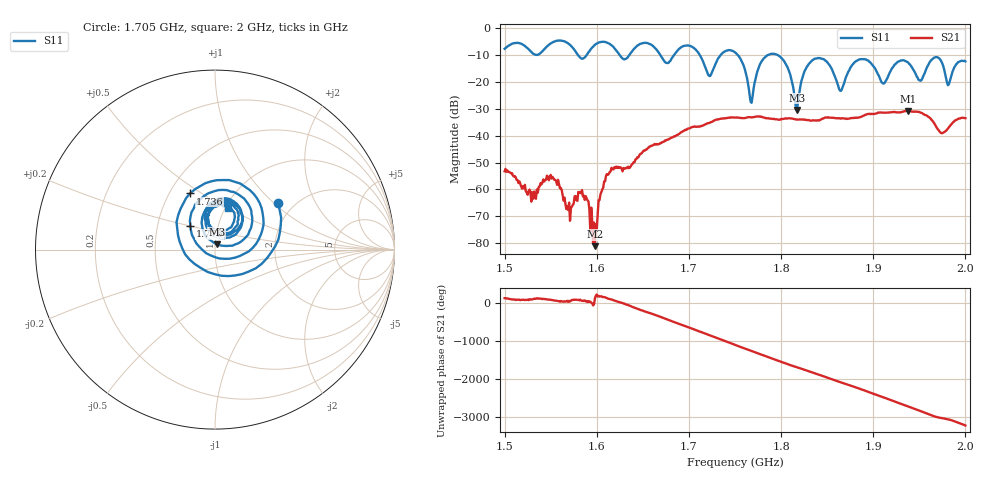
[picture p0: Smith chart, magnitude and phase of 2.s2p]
! NanoVNA-App by SYSJOINT et al v1.1.209 (+OD18)
! Date: 2026-01-21 14:43:00
! Start: 1,5GHz Stop: 2GHz Points: 501
! S-Parameter data: F S11 S21 S12 S22
# Hz S RI R 50
!  Frequency  S11_Real  S11_Imag  S21_Real  S21_Imag  S12_Real  S12_Imag  S22_Real  S22_Imag
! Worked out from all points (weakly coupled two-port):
!   501 points, 1.5 GHz to 2 GHz, reference 50 ohm
!   highest |S21| = -30.73 dB at 1.938 GHz (marker M1); lowest = -81.1 dB at 1.598 GHz (marker M2)
!   lowest |S11| = -30.4 dB at 1.817 GHz (marker M3), VSWR 1.06, Z = 50.9 + j2.92 ohm
!   |S11| at or under -10 dB: 1.712 GHz to 1.734 GHz (22.4 MHz wide, 1.3 % of centre); 1.753 GHz to 1.785 GHz (31.82 MHz wide, 1.8 % of centre); 1.797 GHz to end of sweep (the widest 3 of 6)
!   S12 and S22 are empty: the file has one direction only
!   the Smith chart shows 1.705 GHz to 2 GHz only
!   S11 on the Smith chart (normalised r, x): 1.705 GHz: 1.67, +1.07; 1.736 GHz: 0.63, +0.45; 1.776 GHz: 0.74, +0.20; 2 GHz: 1.03, +0.51
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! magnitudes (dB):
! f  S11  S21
! 1.5 GHz  -7.6  -53.2
! 1.552 GHz  -5.2  -55.3
! 1.569 GHz  -5.6  -67.7
! 1.584 GHz  -11.3  -60.2
! 1.598 GHz  -6.1  -81.1
! 1.612 GHz  -5.4  -54.5
! 1.667 GHz  -8.9  -43.1
! 1.705 GHz  -7.2  -36.7
! 1.722 GHz  -17.7  -35.2
! 1.736 GHz  -9.3  -33.5
! 1.75 GHz  -8.9  -33.2
! 1.767 GHz  -27.4  -33.1
! 1.776 GHz  -14.4  -32.8
! 1.8 GHz  -10.9  -33.7
! 1.817 GHz  -30.4  -34.0
! 1.834 GHz  -11.8  -34.3
! 1.864 GHz  -23.2  -33.5
! 1.885 GHz  -11.5  -33.1
! 1.917 GHz  -17.1  -31.3
! 1.938 GHz  -12.7  -30.7
! 1.981 GHz  -21.2  -37.4
! 2 GHz  -12.3  -33.4
